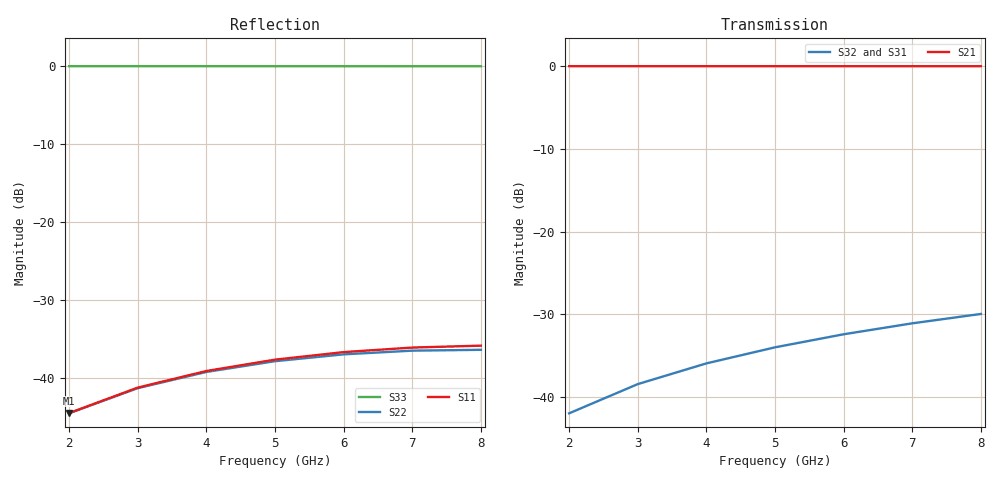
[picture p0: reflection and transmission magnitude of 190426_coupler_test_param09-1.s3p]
! Sonnet Data File
! From: emgraph Version : 16.56
! From Project: 190426_coupler_test
! Data is De-embedded
! Data File Written: 05/06/2019 15:59:44
!< HDATE 04/25/2019 10:48:44
!< MDATE 04/25/2019 10:59:35
!< PARAMS
!< tandelta = 0.0
!< t_aSi = 0.25
!< W = 10.0
!< Lcoupler = 800.0
!< END PARAMS
# GHZ S MA R 50.0 !  non standard terminations in data
! TERM 50.00000 0.000000 50.00000 0.000000 63.84000 0.000000
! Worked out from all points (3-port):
!   7 points, 2 GHz to 8 GHz, reference 50 ohm
!   strongest paths, dB at 2 GHz, 3 GHz, 5 GHz, 7 GHz, 8 GHz:
!     S21: 0.0, 0.0, 0.0, 0.0, 0.0
!     S32: -42.0, -38.4, -34.0, -31.1, -30.0
!     S31: -42.0, -38.5, -34.1, -31.2, -30.1
!   lowest |S11| = -44.5 dB at 2 GHz (marker M1), VSWR 1.01, Z = 50.2 + j0.549 ohm
!   |S11| at or under -10 dB: start of sweep to end of sweep
2  0.005985 65.8  1 -21.7  0.007961 61.6
   1 -21.7  0.005964 71.4  0.007977 84.1
   0.007961 61.6  0.007977 84.1  0.9999 -12.9
3  0.008715 53.6  0.9999 -32.5  0.01192 47.4
   0.9999 -32.5  0.008644 62.2  0.01198 81.2
   0.01192 47.4  0.01198 81.2  0.9999 -19.3
4  0.01114 41.3  0.9998 -43.3  0.01587 33.2
   0.9998 -43.3  0.01098 53.1  0.01598 78.1
   0.01587 33.2  0.01598 78.1  0.9997 -25.8
5  0.01316 28.8  0.9997 -54.1  0.01979 19.1
   0.9997 -54.1  0.01287 44.1  0.01998 75.0
   0.01979 19.1  0.01998 75.0  0.9996 -32.2
6  0.01471 16.1  0.9996 -65.0  0.02367 4.9
   0.9996 -65.0  0.01424 35.2  0.02396 71.9
   0.02367 4.9  0.02396 71.9  0.9994 -38.7
7  0.01574 3.0  0.9995 -75.8  0.02752 -9.3
   0.9995 -75.8  0.01503 26.6  0.02791 68.7
   0.02752 -9.3  0.02791 68.7  0.9992 -45.1
8  0.01618 -10.6  0.9994 -86.6  0.03132 -23.5
   0.9994 -86.6  0.01522 18.3  0.0318 65.5
   0.03132 -23.5  0.0318 65.5  0.999 -51.6
